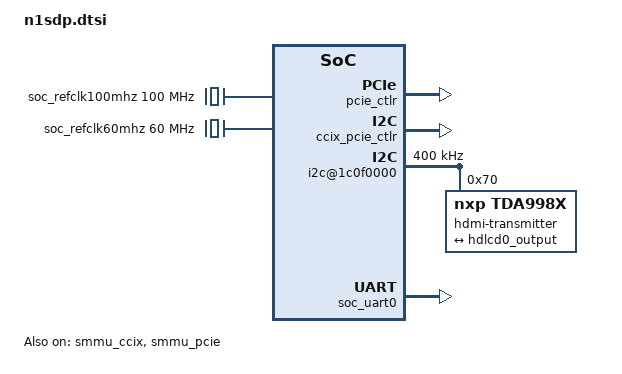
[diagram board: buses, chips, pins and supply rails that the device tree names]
/*
 * Copyright (c) 2020, Arm Limited. All rights reserved.
 *
 * SPDX-License-Identifier: BSD-3-Clause
 */

/dts-v1/;

#include <dt-bindings/interrupt-controller/arm-gic.h>

/ {
	compatible = "arm,neoverse-n1-sdp", "arm,neoverse-n1-soc";

	interrupt-parent = <&gic>;
	#address-cells = <2>;
	#size-cells = <2>;

	aliases {
		serial0 = &soc_uart0;
	};

	gic: interrupt-controller@2c010000 {
		compatible = "arm,gic-600", "arm,gic-v3";
		#address-cells = <2>;
		#interrupt-cells = <3>;
		#size-cells = <2>;
		ranges;
		interrupt-controller;
	};

	pmu {
		compatible = "arm,armv8-pmuv3";
		interrupts = <GIC_PPI 7 IRQ_TYPE_LEVEL_HIGH>;
	};

	spe-pmu {
		compatible = "arm,statistical-profiling-extension-v1";
		interrupts = <GIC_PPI 5 IRQ_TYPE_LEVEL_HIGH>;
	};

	psci {
		compatible = "arm,psci-0.2";
		method = "smc";
	};

	timer {
		compatible = "arm,armv8-timer";
		interrupts = <GIC_PPI 13 IRQ_TYPE_LEVEL_LOW>,
			     <GIC_PPI 14 IRQ_TYPE_LEVEL_LOW>,
			     <GIC_PPI 11 IRQ_TYPE_LEVEL_LOW>,
			     <GIC_PPI 10 IRQ_TYPE_LEVEL_LOW>;
	};

	smmu_ccix: iommu@4f000000 {
		compatible = "arm,mmu-600", "arm,smmu-v3";
		reg = <0 0x4f000000 0 0x40000>;
		#address-cells = <2>;
		#size-cells = <2>;
		ranges;
		interrupts = <GIC_SPI 228 IRQ_TYPE_EDGE_RISING>,
				<GIC_SPI 229 IRQ_TYPE_EDGE_RISING>,
				<GIC_SPI 230 IRQ_TYPE_EDGE_RISING>;
		interrupt-names = "eventq", "cmdq-sync", "gerror";
		msi-parent = <&its1 0>;
		#iommu-cells = <1>;
		dma-coherent;
		status = "okay";
	};

	smmu_pcie: iommu@4f400000 {
		compatible = "arm,mmu-600", "arm,smmu-v3";
		reg = <0 0x4f400000 0 0x40000>;
		interrupts = <GIC_SPI 235 IRQ_TYPE_EDGE_RISING>,
				<GIC_SPI 236 IRQ_TYPE_EDGE_RISING>,
				<GIC_SPI 237 IRQ_TYPE_EDGE_RISING>;
		interrupt-names = "eventq", "cmdq-sync", "gerror";
		msi-parent = <&its2 0>;
		#iommu-cells = <1>;
		dma-coherent;
		status = "okay";
	};

	pcie_ctlr: pcie@70000000 {
		compatible = "arm,n1sdp-pcie";
		device_type = "pci";
		reg = <0 0x70000000 0 0x1200000>;
		bus-range = <0 17>;
		linux,pci-domain = <0>;
		#address-cells = <3>;
		#size-cells = <2>;
		dma-coherent;
		ranges = <0x01000000 0x00 0x00000000 0x00 0x75200000 0x00 0x00010000>,
			 <0x02000000 0x00 0x71200000 0x00 0x71200000 0x00 0x04000000>,
			 <0x42000000 0x09 0x00000000 0x09 0x00000000 0x20 0x00000000>;
		#interrupt-cells = <1>;
		interrupt-map-mask = <0 0 0 7>;
		interrupt-map = <0 0 0 1 &gic 0 0 0 169 IRQ_TYPE_LEVEL_HIGH>,
				<0 0 0 2 &gic 0 0 0 170 IRQ_TYPE_LEVEL_HIGH>,
				<0 0 0 3 &gic 0 0 0 171 IRQ_TYPE_LEVEL_HIGH>,
				<0 0 0 4 &gic 0 0 0 172 IRQ_TYPE_LEVEL_HIGH>;
		msi-map = <0 &its_pcie 0 0x10000>;
		iommu-map = <0 &smmu_pcie 0 0x10000>;
		status = "okay";
	};

	ccix_pcie_ctlr: pcie@68000000 {
		compatible = "arm,n1sdp-pcie";
		device_type = "pci";
		reg = <0 0x68000000 0 0x1200000>;
		bus-range = <0 17>;
		linux,pci-domain = <1>;
		#address-cells = <3>;
		#size-cells = <2>;
		dma-coherent;
		ranges = <0x01000000 0x00 0x00000000 0x00 0x6d200000 0x00 0x00010000>,
			 <0x02000000 0x00 0x69200000 0x00 0x69200000 0x00 0x04000000>,
			 <0x42000000 0x29 0x00000000 0x29 0x00000000 0x20 0x00000000>;
		#interrupt-cells = <1>;
		interrupt-map-mask = <0 0 0 7>;
		interrupt-map = <0 0 0 1 &gic 0 0 0 201 IRQ_TYPE_LEVEL_HIGH>,
				<0 0 0 2 &gic 0 0 0 202 IRQ_TYPE_LEVEL_HIGH>,
				<0 0 0 3 &gic 0 0 0 203 IRQ_TYPE_LEVEL_HIGH>,
				<0 0 0 4 &gic 0 0 0 204 IRQ_TYPE_LEVEL_HIGH>;
		msi-map = <0 &its_ccix 0 0x10000>;
		iommu-map = <0 &smmu_ccix 0 0x10000>;
		status = "okay";
	};

	hdlcd: hdlcd@1c050000 {
		compatible = "arm,hdlcd";
		reg = <0 0x1c050000 0 0x1000>;
		interrupts = <GIC_SPI 97 IRQ_TYPE_LEVEL_HIGH>;
		clocks = <&soc_hdlcdclk>;
		clock-names = "pxlclk";

		port {
			hdlcd0_output: endpoint {
				remote-endpoint = <&tda998x_0_input>;
			};
		};
	};

	i2c@1c0f0000 {
		compatible = "arm,versatile-i2c";
		reg = <0x0 0x1c0f0000 0x0 0x1000>;
		#address-cells = <1>;
		#size-cells = <0>;
		clock-frequency = <400000>;
		i2c-sda-hold-time-ns = <500>;
		clocks = <&soc_refclk60mhz>;

		hdmi-transmitter@70 {
			compatible = "nxp,tda998x";
			reg = <0x70>;
			port {
				tda998x_0_input: endpoint {
					remote-endpoint = <&hdlcd0_output>;
				};
			};
		};
	};

	soc_refclk100mhz: refclk100mhz {
		compatible = "fixed-clock";
		#clock-cells = <0>;
		clock-frequency = <100000000>;
		clock-output-names = "apb_pclk";
	};

	soc_refclk60mhz: refclk60mhz {
		compatible = "fixed-clock";
		#clock-cells = <0>;
		clock-frequency = <60000000>;
		clock-output-names = "iofpga_clk";
	};

	soc_uartclk:  uartclk {
		compatible = "fixed-clock";
		#clock-cells = <0>;
		clock-frequency = <50000000>;
		clock-output-names = "uartclk";
	};

	soc_hdlcdclk:  hdlcdclk {
		compatible = "fixed-clock";
		#clock-cells = <0>;
		clock-frequency = <23750000>;
		clock-output-names = "hdlcdclk";
	};

	soc_uart0: uart@2a400000 {
		compatible = "arm,pl011", "arm,primecell";
		reg = <0x0 0x2a400000 0x0 0x1000>;
		interrupts = <GIC_SPI 63 IRQ_TYPE_LEVEL_HIGH>;
		clocks = <&soc_uartclk>, <&soc_refclk100mhz>;
		clock-names = "uartclk", "apb_pclk";
		status = "okay";
	};
};
